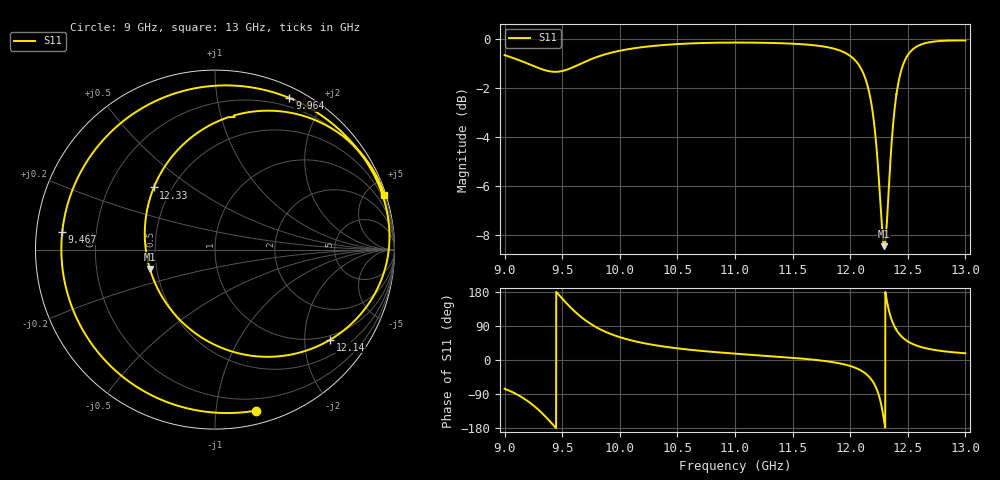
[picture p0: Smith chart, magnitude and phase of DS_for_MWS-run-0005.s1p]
! TOUCHSTONE file generated by CST DESIGN STUDIO
! Date and time: Tue Feb  4 13:09:05 2025
! Project name: C:\Work\MatlabApps\UnitCellOptimizationMatlab\CST\unitcell.cst
! Tree item: Tasks\Sweep1\SPara1\S-Parameters
! Header version: 2024
! Port assignment regex: !\s*Touchstone port\s*([0-9]+)\s*=\s*(CST MWS port|CST DES external port|CST DES block port)\s*(.+)\s* \(\"(.*)\"\)(\s*mode\s*([0-9]+))?.*
! Touchstone port assignment:
! Touchstone port 1 = CST DES external port 1 ("")
# GHz S MA R 50
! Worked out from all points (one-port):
!   4001 points, 9 GHz to 13 GHz, reference 50 ohm
!   lowest |S11| = -8.4 dB at 12.3 GHz (marker M1), VSWR 2.22, Z = 22.9 - j5.75 ohm
!   |S11| at or under -10 dB: nowhere
!   S11 on the Smith chart (normalised r, x): 9 GHz: 0.10, -1.28; 9.467 GHz: 0.08, +0.06; 9.964 GHz: 0.11, +1.60; 12.14 GHz: 0.88, -2.65; 12.33 GHz: 0.40, +0.36; 13 GHz: 0.18, +6.41
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9  0.9257 -75.9
9.146  0.9002 -97.6
9.254  0.8792 -120.9
9.375  0.8596 -155.8
9.467  0.8567 173.3
9.5  0.8593 162.1
9.597  0.8753 131.5
9.692  0.896 106.9
9.827  0.922 81.4
9.964  0.941 63.9
10  0.9449 60.2
10.214  0.9621 44.1
10.5  0.9748 30.8
11  0.9818 16.7
11.5  0.9766 5.7
12  0.9223 -15.8
12.142  0.8153 -37.9
12.189  0.7246 -53.7
12.233  0.5828 -79.1
12.264  0.4549 -110.5
12.296  0.3785 -163.5
12.333  0.4858 134.6
12.364  0.6338 102.8
12.397  0.7579 81.5
12.447  0.8679 61.7
12.5  0.9258 49.0
12.668  0.9811 30.2
13  0.9915 17.7
